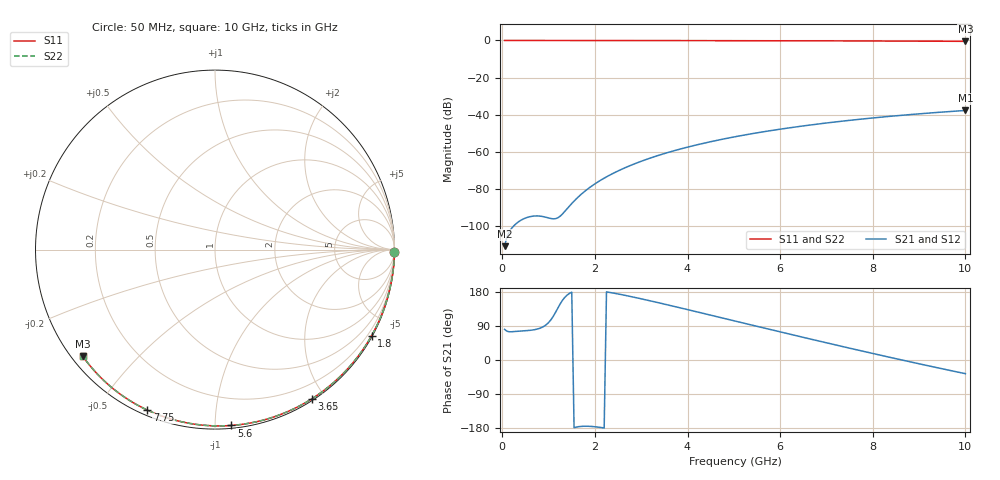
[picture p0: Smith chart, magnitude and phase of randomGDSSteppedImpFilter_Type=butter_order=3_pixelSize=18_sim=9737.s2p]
! freq	dB(S11)	phase(S11)	dB(S12)	phase(S12)
!  dB(S21)	phase(S21)	dB(S22)	phase(S22)
!S-par simulation data
#  GHz  S  DB  R 50
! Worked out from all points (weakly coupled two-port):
!   200 points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, 50 MHz to 10 GHz, reference 50 ohm
!   highest |S21| = -37.79 dB at 10 GHz (marker M1); lowest = -111.1 dB at 50 MHz (marker M2)
!   lowest |S11| = -0.5 dB at 10 GHz (marker M3), VSWR 36.25, Z = 1.55 - j17.6 ohm
!   |S11| at or under -10 dB: nowhere
!   |S22| runs from -0.5 to 0.0 dB; largest |S21 - S12| = 0
!   S11 on the Smith chart (normalised r, x): 50 MHz: open; 1.8 GHz: 0.03, -3.89; 3.65 GHz: 0.02, -1.84; 5.6 GHz: 0.02, -1.10; 7.75 GHz: 0.02, -0.66; 10 GHz: 0.03, -0.35
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0.05  -0.00 -0.8  -111.06 80.8  -111.06 80.8  -0.00 -0.8
0.45  -0.01 -7.3  -96.42 76.8  -96.42 76.8  -0.01 -7.3
0.9  -0.02 -14.5  -95.20 88.9  -95.20 88.9  -0.02 -14.5
1.75  -0.04 -28.0  -82.06 -174.8  -82.06 -174.8  -0.04 -28.0
1.8  -0.04 -28.8  -81.04 -174.7  -81.04 -174.7  -0.04 -28.8
1.85  -0.04 -29.6  -80.08 -174.8  -80.08 -174.8  -0.04 -29.6
2.15  -0.04 -34.3  -75.06 -178.4  -75.06 -178.4  -0.04 -34.3
2.35  -0.05 -37.4  -72.29 177.7  -72.29 177.7  -0.05 -37.4
2.55  -0.05 -40.4  -69.85 173.1  -69.85 173.1  -0.05 -40.4
2.95  -0.06 -46.5  -65.69 162.8  -65.69 162.8  -0.06 -46.5
3.4  -0.07 -53.3  -61.82 150.4  -61.82 150.4  -0.07 -53.3
3.65  -0.08 -57.0  -59.95 143.2  -59.95 143.2  -0.08 -57.0
4.3  -0.09 -66.5  -55.78 124.2  -55.78 124.2  -0.09 -66.5
5.05  -0.12 -77.1  -51.87 102.1  -51.87 102.1  -0.12 -77.1
5.6  -0.14 -84.6  -49.46 85.9  -49.46 85.9  -0.14 -84.6
6.15  -0.16 -92.1  -47.35 69.9  -47.35 69.9  -0.16 -92.1
6.7  -0.19 -99.3  -45.48 54.0  -45.48 54.0  -0.19 -99.3
7.2  -0.22 -105.8  -43.96 39.7  -43.96 39.7  -0.22 -105.8
7.75  -0.26 -112.9  -42.46 24.2  -42.46 24.2  -0.26 -112.9
8.35  -0.31 -120.4  -41.01 7.6  -41.01 7.6  -0.31 -120.5
9.2  -0.39 -131.1  -39.22 -15.3  -39.22 -15.3  -0.39 -131.1
10  -0.48 -141.2  -37.79 -36.1  -37.79 -36.1  -0.48 -141.2
